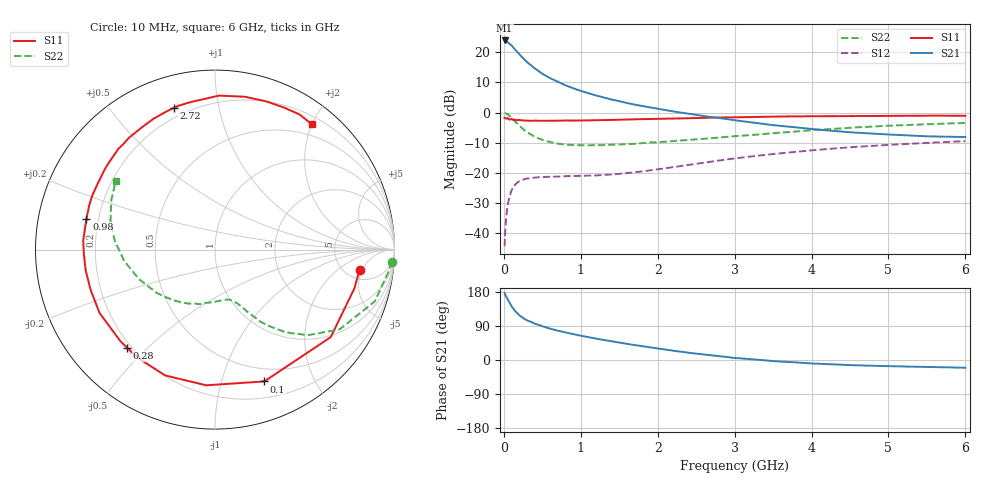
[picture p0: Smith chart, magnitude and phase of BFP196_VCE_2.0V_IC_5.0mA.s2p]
! Infineon Technologies  Discrete & RF Semiconductors
! BFP196
! VCE = 2.0 V,  IC = 5.0mA
! Common Emitter S-Parameters:  Jan 2016
# GHz  S  MA  R  50
!  f  S11  S21  S12  S22
! GHz  MAG  ANG  MAG  ANG  MAG  ANG  MAG  ANG
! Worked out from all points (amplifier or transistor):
!   210 points, 10 MHz to 6 GHz, reference 50 ohm
!   highest |S21| = 24.0 dB at 10 MHz (marker M1)
!   |S21| within 3 dB of that: start of sweep to 145.4 MHz
!   unconditionally stable (mu >= 1): 1.118 GHz to 3.371 GHz; 5.685 GHz to end of sweep
!   at 185 MHz: K = 0.20, MSG = 21.5 dB, |S12| = -23.1 dB
!   at 1.52 GHz: K = 1.19, MAG = 9.4 dB, |S12| = -20.3 dB
!   at 6 GHz: K = 1.01, MAG = 0.0 dB, |S12| = -9.5 dB
!   S11 on the Smith chart (normalised r, x): 10 MHz: 6.74, -4.46; 100 MHz: 0.36, -1.38; 280 MHz: 0.18, -0.43; 980 MHz: 0.15, +0.12; 2.72 GHz: 0.15, +0.74; 6 GHz: 0.32, +2.00
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0.01  0.8136 -7.9  15.76 176.8  0.006 87.9  0.9872 -3.9
0.02  0.806 -15.6  15.43 171.2  0.012 81.9  0.9739 -7.4
0.05  0.8085 -37.1  14.8 159.4  0.0292 71.3  0.9364 -17.9
0.1  0.784 -69.5  13.09 142.0  0.0509 56.3  0.8246 -32.6
0.15  0.7577 -93.7  11 128.2  0.0641 45.2  0.7034 -42.7
0.2  0.754 -111.6  9.376 118.4  0.0725 37.7  0.6073 -49.4
0.24  0.74 -122.9  8.243 112.3  0.076 33.4  0.5438 -53.2
0.28  0.7338 -131.8  7.333 107.3  0.0787 30.5  0.4947 -56.4
0.3  0.7337 -135.9  6.918 104.8  0.0798 29.2  0.4727 -57.9
0.4  0.7338 -151.3  5.421 96.0  0.0831 24.5  0.3955 -62.2
0.5  0.7285 -162.1  4.408 88.9  0.0848 21.8  0.3504 -65.0
0.6  0.7299 -171.0  3.733 82.8  0.0854 20.8  0.3222 -67.8
0.7  0.7311 -178.3  3.231 77.3  0.0859 20.7  0.3038 -70.7
0.98  0.7363 166.5  2.331 65.0  0.0882 22.2  0.2856 -77.7
1.02  0.7381 164.5  2.244 63.4  0.0884 22.6  0.2853 -78.8
1.4  0.752 148.4  1.644 49.4  0.0931 28.0  0.2918 -90.5
2.02  0.7863 127.0  1.139 29.9  0.1147 36.7  0.3212 -110.8
2.72  0.8218 106.3  0.834 11.9  0.1543 38.8  0.3761 -134.1
3.1  0.8357 97.1  0.717 4.0  0.1787 36.5  0.4116 -146.6
4.1  0.8676 77.3  0.518 -9.9  0.2407 26.8  0.5173 -175.3
5.1  0.8806 62.9  0.425 -16.7  0.2943 14.5  0.6097 162.5
6  0.8825 52.3  0.391 -20.4  0.3341 2.9  0.6719 145.5
